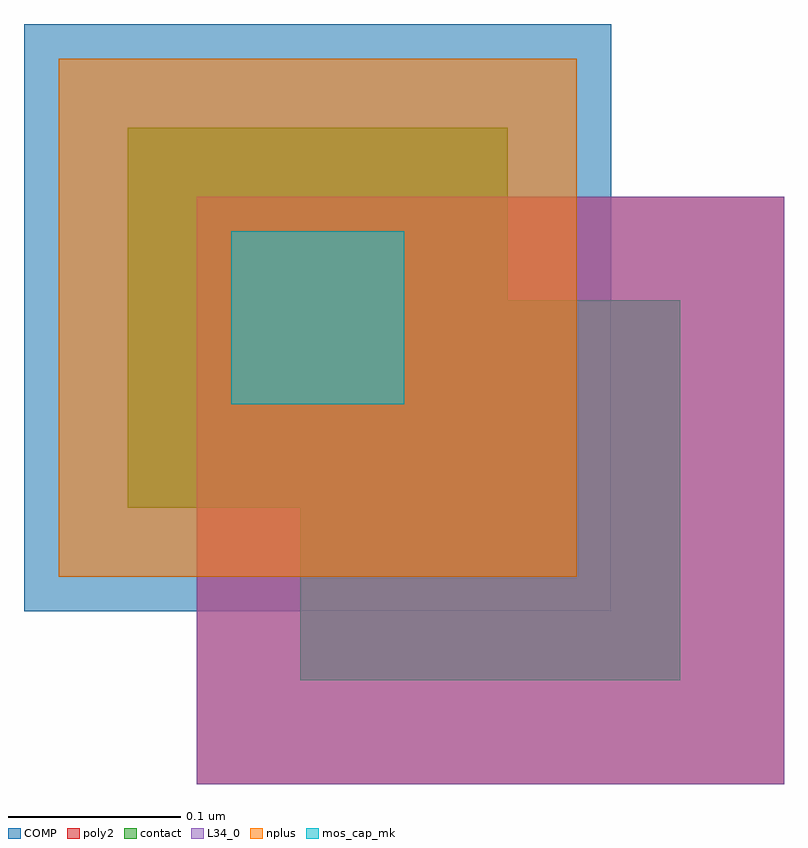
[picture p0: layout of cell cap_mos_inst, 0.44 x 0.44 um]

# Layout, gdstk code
import gdstk
lib = gdstk.Library(unit=1e-6, precision=1e-09)
def R(c, l, rs):  # rectangles x0, y0, x1, y1
    for r in rs: c.add(gdstk.rectangle(r[:2], r[2:], *l))
COMP = (22, 0)
poly2 = (30, 0)
nplus = (32, 0)
contact = (33, 0)
L34_0 = (34, 0)
mos_cap_mk = (166, 5)

compass_5c90cb24 = lib.new_cell('compass_5c90cb24')
R(compass_5c90cb24, COMP, [(-0.05,-0.05,0.05,0.05)])

rectangle_5c90cb24 = lib.new_cell('rectangle_5c90cb24')
rectangle_5c90cb24.add(gdstk.Reference(compass_5c90cb24, (0.05,0.05)))

compass_9502332b = lib.new_cell('compass_9502332b')
R(compass_9502332b, mos_cap_mk, [(-0.05,-0.05,0.05,0.05)])

rectangle_9502332b = lib.new_cell('rectangle_9502332b')
rectangle_9502332b.add(gdstk.Reference(compass_9502332b, (0.05,0.05)))

compass_f38dc993 = lib.new_cell('compass_f38dc993')
R(compass_f38dc993, contact, [(-0.11,-0.11,0.11,0.11)])

rectangle_f38dc993 = lib.new_cell('rectangle_f38dc993')
rectangle_f38dc993.add(gdstk.Reference(compass_f38dc993, (0.11,0.11)))

via_generator_fb634f5e = lib.new_cell('via_generator_fb634f5e')
r = gdstk.Reference(rectangle_f38dc993, (-0.06,-0.06)); r.repetition = gdstk.Repetition(1, 1, v1=(0.5,0), v2=(0,0.5)); via_generator_fb634f5e.add(r)

compass_9deecdff = lib.new_cell('compass_9deecdff')
R(compass_9deecdff, COMP, [(-0.17,-0.17,0.17,0.17)])

rectangle_9deecdff = lib.new_cell('rectangle_9deecdff')
rectangle_9deecdff.add(gdstk.Reference(compass_9deecdff, (0.17,0.17)))

via_stack_702b90f4 = lib.new_cell('via_stack_702b90f4')
via_stack_702b90f4.add(gdstk.Reference(via_generator_fb634f5e, (0,0)))
via_stack_702b90f4.add(gdstk.Reference(rectangle_9deecdff, (-0.12,-0.12)))

compass_99915c73 = lib.new_cell('compass_99915c73')
R(compass_99915c73, nplus, [(-0.15,-0.15,0.15,0.15)])

rectangle_99915c73 = lib.new_cell('rectangle_99915c73')
rectangle_99915c73.add(gdstk.Reference(compass_99915c73, (0.15,0.15)))

compass_f8a344c4 = lib.new_cell('compass_f8a344c4')
R(compass_f8a344c4, poly2, [(-0.05,-0.05,0.05,0.05)])

rectangle_f8a344c4 = lib.new_cell('rectangle_f8a344c4')
rectangle_f8a344c4.add(gdstk.Reference(compass_f8a344c4, (0.05,0.05)))

via_generator_ab9b9bf2 = lib.new_cell('via_generator_ab9b9bf2')
r = gdstk.Reference(rectangle_f38dc993, (0.04,-0.16)); r.repetition = gdstk.Repetition(1, 1, v1=(0.5,0), v2=(0,0.5)); via_generator_ab9b9bf2.add(r)

compass_c6da174f = lib.new_cell('compass_c6da174f')
R(compass_c6da174f, poly2, [(-0.17,-0.17,0.17,0.17)])

rectangle_c6da174f = lib.new_cell('rectangle_c6da174f')
rectangle_c6da174f.add(gdstk.Reference(compass_c6da174f, (0.17,0.17)))

via_stack_b0b91526 = lib.new_cell('via_stack_b0b91526')
via_stack_b0b91526.add(gdstk.Reference(via_generator_ab9b9bf2, (0,0)))
via_stack_b0b91526.add(gdstk.Reference(rectangle_c6da174f, (-0.02,-0.22)))

compass_dcfca99b = lib.new_cell('compass_dcfca99b')
R(compass_dcfca99b, L34_0, [(-0.17,-0.17,0.17,0.17)])

rectangle_dcfca99b = lib.new_cell('rectangle_dcfca99b')
rectangle_dcfca99b.add(gdstk.Reference(compass_dcfca99b, (0.17,0.17)))

cap_mos_inst = lib.new_cell('cap_mos_inst')
cap_mos_inst.add(gdstk.Reference(rectangle_5c90cb24, (0,0)))
cap_mos_inst.add(gdstk.Reference(rectangle_9502332b, (0,0)))
r = gdstk.Reference(via_stack_702b90f4, (0,0)); r.repetition = gdstk.Repetition(2, 1, v1=(0,0), v2=(0,1)); cap_mos_inst.add(r)
cap_mos_inst.add(gdstk.Reference(rectangle_99915c73, (-0.1,-0.1)))
cap_mos_inst.add(gdstk.Reference(rectangle_f8a344c4, (0.1,-0.1)))
r = gdstk.Reference(via_stack_b0b91526, (0,0)); r.repetition = gdstk.Repetition(1, 2, v1=(1,0), v2=(0,0)); cap_mos_inst.add(r)
cap_mos_inst.add(gdstk.Reference(rectangle_dcfca99b, (-0.02,-0.22)))

lib.write_gds('cap_mos_inst.gds')
